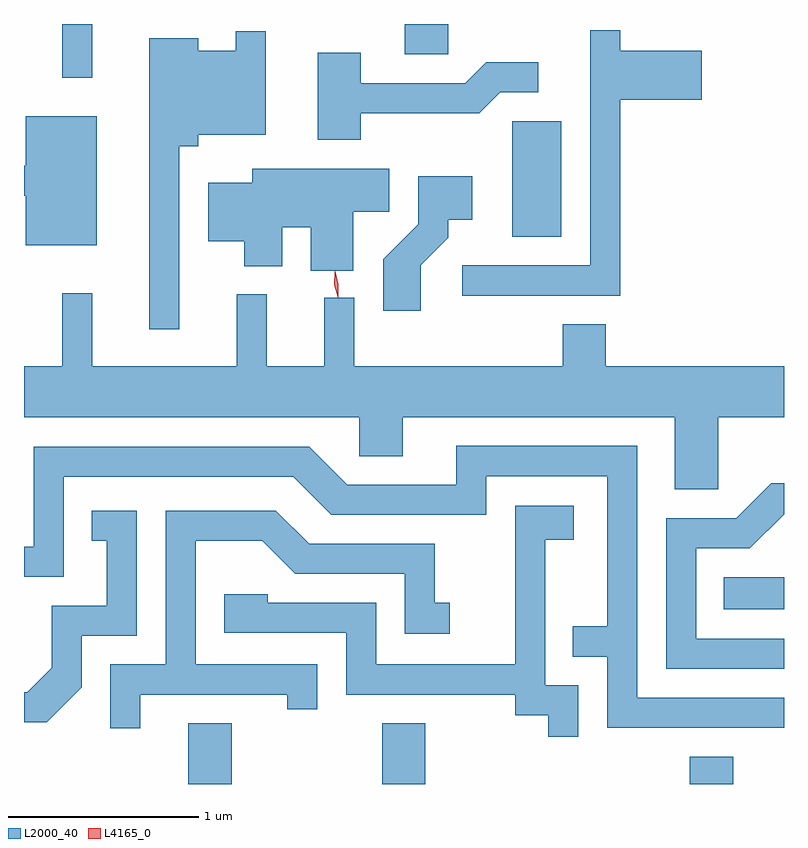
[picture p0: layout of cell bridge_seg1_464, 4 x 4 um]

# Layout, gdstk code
import gdstk
lib = gdstk.Library(unit=1e-6, precision=1e-09)
def R(c, l, rs):  # rectangles x0, y0, x1, y1
    for r in rs: c.add(gdstk.rectangle(r[:2], r[2:], *l))
def P(c, l, *ps):  # polygons
    for p in ps: c.add(gdstk.Polygon(p, *l))
L2000_40 = (2000, 40)
L4165_0 = (4165, 0)

bridge_seg1_464 = lib.new_cell('bridge_seg1_464')
R(bridge_seg1_464, L2000_40, [(331.561,839.925,331.789,840.244), (332.581,839.925,332.809,840.244), (334.201,839.925,334.429,840.069), (334.378,840.846,334.696,841.014), (333.266,842.806,333.524,843.414), (330.896,843.643,331.054,843.925), (332.701,843.766,332.929,843.925)])
P(bridge_seg1_464, L2000_40, [(333.834,843.526),(334.264,843.526),(334.264,843.784),(333.834,843.784),(333.834,843.893),(333.676,843.893),(333.676,842.654),(333.003,842.654),(333.003,842.496),(333.834,842.496)],
  [(331.514,843.281),(331.614,843.281),(331.614,843.341),(331.969,843.341),(331.969,843.888),(331.811,843.888),(331.811,843.784),(331.614,843.784),(331.614,843.849),(331.356,843.849),(331.356,842.318),(331.514,842.318)],
  [(332.469,843.456),(333.092,843.456),(333.202,843.566),(333.403,843.566),(333.403,843.724),(333.129,843.724),(333.019,843.614),(332.469,843.614),(332.469,843.774),(332.241,843.774),(332.241,843.316),(332.469,843.316)],
  [(331.079,843.439),(330.706,843.439),(330.706,843.179),(330.696,843.179),(330.696,843.021),(330.706,843.021),(330.706,842.761),(331.079,842.761)],
  [(332.429,842.936),(332.619,842.936),(332.619,843.164),(331.896,843.164),(331.896,843.089),(331.666,843.089),(331.666,842.781),(331.856,842.781),(331.856,842.651),(332.054,842.651),(332.054,842.856),(332.206,842.856),(332.206,842.626),(332.429,842.626)],
  [(332.784,842.654),(332.929,842.799),(332.929,842.896),(333.054,842.896),(333.054,843.124),(332.771,843.124),(332.771,842.872),(332.586,842.687),(332.586,842.416),(332.784,842.416)],
  [(334.349,841.856),(334.696,841.856),(334.696,842.124),(333.759,842.124),(333.759,842.344),(333.531,842.344),(333.531,842.124),(332.434,842.124),(332.434,842.483),(332.276,842.483),(332.276,842.124),(331.974,842.124),(331.974,842.503),(331.816,842.503),(331.816,842.124),(331.054,842.124),(331.054,842.508),(330.896,842.508),(330.896,842.124),(330.696,842.124),(330.696,841.856),(332.461,841.856),(332.461,841.651),(332.689,841.651),(332.689,841.856),(334.121,841.856),(334.121,841.476),(334.349,841.476)],
  [(334.696,840.379),(333.924,840.379),(333.924,841.704),(332.971,841.704),(332.971,841.499),(332.397,841.499),(332.197,841.699),(330.746,841.699),(330.746,841.174),(330.696,841.174),(330.696,841.016),(330.904,841.016),(330.904,841.541),(332.114,841.541),(332.314,841.341),(333.129,841.341),(333.129,841.546),(333.766,841.546),(333.766,840.754),(333.583,840.754),(333.583,840.596),(333.766,840.596),(333.766,840.221),(334.696,840.221)],
  [(334.696,840.689),(334.234,840.689),(334.234,841.166),(334.517,841.166),(334.696,841.345),(334.696,841.509),(334.629,841.509),(334.444,841.324),(334.076,841.324),(334.076,840.531),(334.696,840.531)],
  [(333.614,840.444),(333.439,840.444),(333.439,841.211),(333.589,841.211),(333.589,841.389),(333.281,841.389),(333.281,840.554),(332.549,840.554),(332.549,840.879),(331.979,840.879),(331.979,840.924),(331.751,840.924),(331.751,840.721),(332.391,840.721),(332.391,840.396),(333.281,840.396),(333.281,840.286),(333.456,840.286),(333.456,840.173),(333.614,840.173)],
  [(330.999,840.434),(330.999,840.706),(331.289,840.706),(331.289,841.364),(331.053,841.364),(331.053,841.206),(331.131,841.206),(331.131,840.864),(330.841,840.864),(330.841,840.537),(330.714,840.409),(330.696,840.409),(330.696,840.251),(330.817,840.251)],
  [(331.309,840.396),(332.081,840.396),(332.081,840.318),(332.239,840.318),(332.239,840.554),(331.599,840.554),(331.599,841.206),(331.949,841.206),(332.124,841.031),(332.701,841.031),(332.701,840.716),(332.938,840.716),(332.938,840.879),(332.859,840.879),(332.859,841.189),(332.197,841.189),(332.022,841.364),(331.441,841.364),(331.441,840.554),(331.151,840.554),(331.151,840.218),(331.309,840.218)])
P(bridge_seg1_464, L4165_0, [(332.347,842.488),(332.346,842.489),(332.329,842.553),(332.331,842.62),(332.332,842.62),(332.332,842.62),(332.35,842.556),(332.348,842.489)],
  [(332.348,842.485),(332.348,842.486),(332.331,842.553),(332.334,842.623),(332.335,842.623),(332.335,842.623),(332.351,842.555),(332.349,842.486)])

lib.write_gds('bridge_seg1_464.gds')
